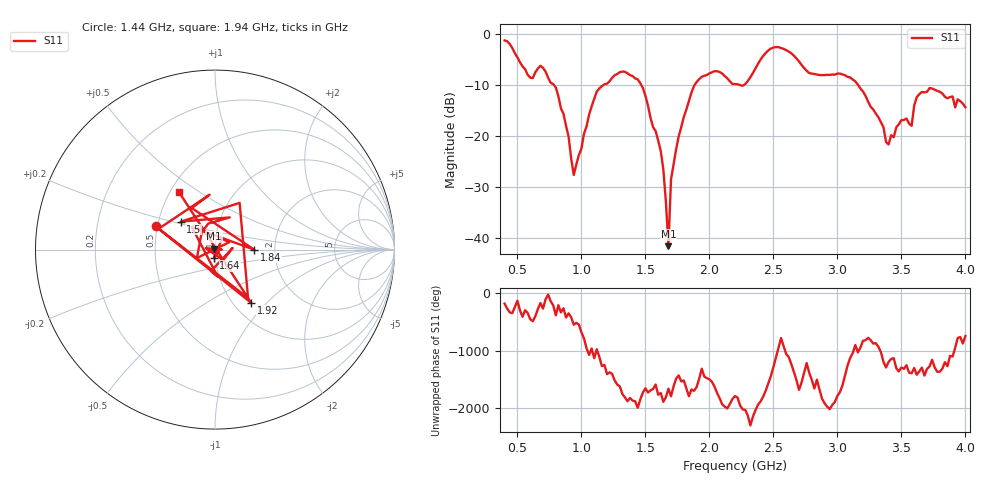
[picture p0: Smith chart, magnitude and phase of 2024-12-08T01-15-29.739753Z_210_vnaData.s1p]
!Created with skrf (http://scikit-rf.org).
# Hz S RI R 50.0
!freq ReS11 ImS11
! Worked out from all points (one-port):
!   181 points, 400 MHz to 4 GHz, reference 50 ohm
!   lowest |S11| = -41.6 dB at 1.68 GHz (marker M1), VSWR 1.02, Z = 49.4 + j0.598 ohm
!   |S11| at or under -10 dB: 783.4 MHz to 1.176 GHz (392.9 MHz wide, 40.1 % of centre); 1.466 GHz to 1.887 GHz (420.2 MHz wide, 25.1 % of centre); 3.16 GHz to end of sweep (the widest 3 of 4)
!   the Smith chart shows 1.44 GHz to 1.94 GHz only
!   S11 on the Smith chart (normalised r, x): 1.44 GHz: 0.49, +0.15; 1.5 GHz: 0.65, +0.22; 1.64 GHz: 0.98, -0.09; 1.84 GHz: 1.56, -0.00; 1.92 GHz: 1.20, -0.82; 1.94 GHz: 0.56, +0.41
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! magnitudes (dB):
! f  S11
! 400 MHz  -1.3
! 600 MHz  -8.6
! 700 MHz  -6.7
! 860 MHz  -15.7
! 940 MHz  -27.7
! 1.12 GHz  -11.4
! 1.3 GHz  -7.5
! 1.44 GHz  -9.0
! 1.5 GHz  -12.2
! 1.64 GHz  -26.6
! 1.68 GHz  -41.6
! 1.7 GHz  -28.6
! 1.76 GHz  -20.1
! 1.84 GHz  -13.2
! 1.92 GHz  -8.9
! 1.94 GHz  -8.5
! 2.2 GHz  -9.9
! 2.48 GHz  -2.9
! 2.66 GHz  -4.3
! 2.78 GHz  -7.7
! 3.1 GHz  -8.6
! 3.4 GHz  -21.7
! 3.5 GHz  -16.9
! 3.56 GHz  -17.6
! 3.58 GHz  -18.1
! 3.62 GHz  -12.5
! 3.72 GHz  -10.7
! 4 GHz  -14.4
